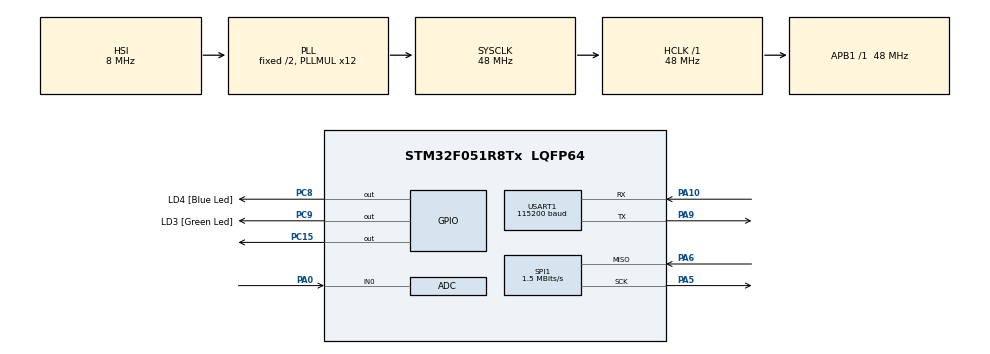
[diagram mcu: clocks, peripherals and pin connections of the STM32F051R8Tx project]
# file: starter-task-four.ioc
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Mcu.Family=STM32F0
Mcu.Name=STM32F051R8Tx
Mcu.Package=LQFP64
PA0.Mode=IN0
PA0.Signal=ADC_IN0
PA10.Mode=Asynchronous
PA10.Signal=USART1_RX
PA13.GPIO_Label=SWDIO
PA13.Mode=Serial_Wire
PA13.Signal=SYS_SWDIO
PA14.GPIO_Label=SWCLK
PA14.Mode=Serial_Wire
PA14.Signal=SYS_SWCLK
PA5.Mode=RX_Only_Simplex_Unidirect_Master
PA5.Signal=SPI1_SCK
PA6.Mode=RX_Only_Simplex_Unidirect_Master
PA6.Signal=SPI1_MISO
PA9.Mode=Asynchronous
PA9.Signal=USART1_TX
PC15-OSC32_OUT.Signal=GPIO_Output
PC8.GPIO_Label=LD4 [Blue Led]
PC8.Signal=GPIO_Output
PC9.GPIO_Label=LD3 [Green Led]
PC9.Signal=GPIO_Output
ProjectManager.HeapSize=0x200
ProjectManager.StackSize=0x400
ProjectManager.TargetToolchain=STM32CubeIDE
RCC.AHBFreq_Value=48000000
RCC.APB1Freq_Value=48000000
RCC.APB1TimFreq_Value=48000000
RCC.HCLKFreq_Value=48000000
RCC.PLLMUL=RCC_PLL_MUL12
RCC.SYSCLKFreq_VALUE=48000000
RCC.SYSCLKSource=RCC_SYSCLKSOURCE_PLLCLK
SPI1.BaudRatePrescaler=SPI_BAUDRATEPRESCALER_32
SPI1.CalculateBaudRate=1.5 MBits/s
SPI1.DataSize=SPI_DATASIZE_8BIT
SPI1.Direction=SPI_DIRECTION_2LINES_RXONLY
SPI1.Mode=SPI_MODE_MASTER
SPI1.NSSPMode=SPI_NSS_PULSE_DISABLE
SPI1.VirtualType=VM_MASTER
USART1.BaudRate=115200
USART1.VirtualMode-Asynchronous=VM_ASYNC
board=STM32F0DISCOVERY

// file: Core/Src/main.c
/* USER CODE BEGIN Header */
/**
  ******************************************************************************
  * @file           : main.c
  * @brief          : Main program body
  ******************************************************************************
  * @attention
  *
  * Copyright (c) 2024 STMicroelectronics.
  * All rights reserved.
  *
  * This software is licensed under terms that can be found in the LICENSE file
  * in the root directory of this software component.
  * If no LICENSE file comes with this software, it is provided AS-IS.
  *
  ******************************************************************************
  */
/* USER CODE END Header */
#include "main.h"

/* USER CODE BEGIN Includes */
#include <stdio.h>
#include <string.h>
#include <stdlib.h>

/* USER CODE END Includes */

ADC_HandleTypeDef hadc;

SPI_HandleTypeDef hspi1;

UART_HandleTypeDef huart1;

void SystemClock_Config(void);
static void MX_GPIO_Init(void);
static void MX_ADC_Init(void);
static void MX_USART1_UART_Init(void);
static void MX_SPI1_Init(void);

int main(void)
{

  /* USER CODE BEGIN 1 */
	char uart_buf[300];
	int uart_buf_len;
	uint8_t spi_buf[2] = {0x00, 0x01};
	unsigned int raw;
	float voltage;

  /* USER CODE END 1 */

  /* MCU Configuration--------------------------------------------------------*/

  /* Reset of all peripherals, Initializes the Flash interface and the Systick. */
  HAL_Init();

  /* Configure the system clock */
  SystemClock_Config();

  /* Initialize all configured peripherals */
  MX_GPIO_Init();
  MX_ADC_Init();
  MX_USART1_UART_Init();
  MX_SPI1_Init();
  /* USER CODE BEGIN 2 */
  HAL_GPIO_WritePin(GPIOC, GPIO_PIN_15, GPIO_PIN_SET);

  /* USER CODE END 2 */

  /* Infinite loop */
  while (1)
  {

    /* USER CODE BEGIN 3 */

	  HAL_GPIO_WritePin(GPIOC, GPIO_PIN_15, GPIO_PIN_RESET);
	  HAL_SPI_Receive(&hspi1, (uint8_t *)spi_buf, 2, 100);
	  HAL_GPIO_WritePin(GPIOC, GPIO_PIN_15, GPIO_PIN_SET);

	  raw = (spi_buf[0] << 8) | spi_buf[1];
	  voltage = ((raw + 1) * 5.0) / 65536;

	  uart_buf_len = sprintf(uart_buf, "voltage: %.2f V\r\n", voltage);
	  HAL_UART_Transmit(&huart1, (uint8_t*)uart_buf, uart_buf_len, HAL_MAX_DELAY);

	  HAL_Delay(500);
  }
  /* USER CODE END 3 */
}

void SystemClock_Config(void)
{
  RCC_OscInitTypeDef RCC_OscInitStruct = {0};
  RCC_ClkInitTypeDef RCC_ClkInitStruct = {0};
  RCC_PeriphCLKInitTypeDef PeriphClkInit = {0};

  /** Initializes the RCC Oscillators according to the specified parameters
  * in the RCC_OscInitTypeDef structure.
  */
  RCC_OscInitStruct.OscillatorType = RCC_OSCILLATORTYPE_HSI|RCC_OSCILLATORTYPE_HSI14;
  RCC_OscInitStruct.HSIState = RCC_HSI_ON;
  RCC_OscInitStruct.HSI14State = RCC_HSI14_ON;
  RCC_OscInitStruct.HSICalibrationValue = RCC_HSICALIBRATION_DEFAULT;
  RCC_OscInitStruct.HSI14CalibrationValue = 16;
  RCC_OscInitStruct.PLL.PLLState = RCC_PLL_ON;
  RCC_OscInitStruct.PLL.PLLSource = RCC_PLLSOURCE_HSI;
  RCC_OscInitStruct.PLL.PLLMUL = RCC_PLL_MUL12;
  RCC_OscInitStruct.PLL.PREDIV = RCC_PREDIV_DIV1;
  if (HAL_RCC_OscConfig(&RCC_OscInitStruct) != HAL_OK)
  {
    Error_Handler();
  }

  /** Initializes the CPU, AHB and APB buses clocks
  */
  RCC_ClkInitStruct.ClockType = RCC_CLOCKTYPE_HCLK|RCC_CLOCKTYPE_SYSCLK
                              |RCC_CLOCKTYPE_PCLK1;
  RCC_ClkInitStruct.SYSCLKSource = RCC_SYSCLKSOURCE_PLLCLK;
  RCC_ClkInitStruct.AHBCLKDivider = RCC_SYSCLK_DIV1;
  RCC_ClkInitStruct.APB1CLKDivider = RCC_HCLK_DIV1;

  if (HAL_RCC_ClockConfig(&RCC_ClkInitStruct, FLASH_LATENCY_1) != HAL_OK)
  {
    Error_Handler();
  }
  PeriphClkInit.PeriphClockSelection = RCC_PERIPHCLK_USART1;
  PeriphClkInit.Usart1ClockSelection = RCC_USART1CLKSOURCE_PCLK1;
  if (HAL_RCCEx_PeriphCLKConfig(&PeriphClkInit) != HAL_OK)
  {
    Error_Handler();
  }
}

static void MX_ADC_Init(void)
{

  ADC_ChannelConfTypeDef sConfig = {0};

  /** Configure the global features of the ADC (Clock, Resolution, Data Alignment and number of conversion)
  */
  hadc.Instance = ADC1;
  hadc.Init.ClockPrescaler = ADC_CLOCK_ASYNC_DIV1;
  hadc.Init.Resolution = ADC_RESOLUTION_12B;
  hadc.Init.DataAlign = ADC_DATAALIGN_RIGHT;
  hadc.Init.ScanConvMode = ADC_SCAN_DIRECTION_FORWARD;
  hadc.Init.EOCSelection = ADC_EOC_SINGLE_CONV;
  hadc.Init.LowPowerAutoWait = DISABLE;
  hadc.Init.LowPowerAutoPowerOff = DISABLE;
  hadc.Init.ContinuousConvMode = DISABLE;
  hadc.Init.DiscontinuousConvMode = DISABLE;
  hadc.Init.ExternalTrigConv = ADC_SOFTWARE_START;
  hadc.Init.ExternalTrigConvEdge = ADC_EXTERNALTRIGCONVEDGE_NONE;
  hadc.Init.DMAContinuousRequests = DISABLE;
  hadc.Init.Overrun = ADC_OVR_DATA_PRESERVED;
  if (HAL_ADC_Init(&hadc) != HAL_OK)
  {
    Error_Handler();
  }

  /** Configure for the selected ADC regular channel to be converted.
  */
  sConfig.Channel = ADC_CHANNEL_0;
  sConfig.Rank = ADC_RANK_CHANNEL_NUMBER;
  sConfig.SamplingTime = ADC_SAMPLETIME_1CYCLE_5;
  if (HAL_ADC_ConfigChannel(&hadc, &sConfig) != HAL_OK)
  {
    Error_Handler();
  }

}

static void MX_SPI1_Init(void)
{

  /* SPI1 parameter configuration*/
  hspi1.Instance = SPI1;
  hspi1.Init.Mode = SPI_MODE_MASTER;
  hspi1.Init.Direction = SPI_DIRECTION_2LINES_RXONLY;
  hspi1.Init.DataSize = SPI_DATASIZE_8BIT;
  hspi1.Init.CLKPolarity = SPI_POLARITY_LOW;
  hspi1.Init.CLKPhase = SPI_PHASE_1EDGE;
  hspi1.Init.NSS = SPI_NSS_SOFT;
  hspi1.Init.BaudRatePrescaler = SPI_BAUDRATEPRESCALER_32;
  hspi1.Init.FirstBit = SPI_FIRSTBIT_MSB;
  hspi1.Init.TIMode = SPI_TIMODE_DISABLE;
  hspi1.Init.CRCCalculation = SPI_CRCCALCULATION_DISABLE;
  hspi1.Init.CRCPolynomial = 7;
  hspi1.Init.CRCLength = SPI_CRC_LENGTH_DATASIZE;
  hspi1.Init.NSSPMode = SPI_NSS_PULSE_DISABLE;
  if (HAL_SPI_Init(&hspi1) != HAL_OK)
  {
    Error_Handler();
  }

}

static void MX_USART1_UART_Init(void)
{

  huart1.Instance = USART1;
  huart1.Init.BaudRate = 115200;
  huart1.Init.WordLength = UART_WORDLENGTH_8B;
  huart1.Init.StopBits = UART_STOPBITS_1;
  huart1.Init.Parity = UART_PARITY_NONE;
  huart1.Init.Mode = UART_MODE_TX_RX;
  huart1.Init.HwFlowCtl = UART_HWCONTROL_NONE;
  huart1.Init.OverSampling = UART_OVERSAMPLING_16;
  huart1.Init.OneBitSampling = UART_ONE_BIT_SAMPLE_DISABLE;
  huart1.AdvancedInit.AdvFeatureInit = UART_ADVFEATURE_NO_INIT;
  if (HAL_UART_Init(&huart1) != HAL_OK)
  {
    Error_Handler();
  }

}

static void MX_GPIO_Init(void)
{
  GPIO_InitTypeDef GPIO_InitStruct = {0};

  /* GPIO Ports Clock Enable */
  __HAL_RCC_GPIOC_CLK_ENABLE();
  __HAL_RCC_GPIOA_CLK_ENABLE();

  /*Configure GPIO pin Output Level */
  HAL_GPIO_WritePin(GPIOC, GPIO_PIN_15|LD4_Pin|LD3_Pin, GPIO_PIN_RESET);

  /*Configure GPIO pins : PC15 LD4_Pin LD3_Pin */
  GPIO_InitStruct.Pin = GPIO_PIN_15|LD4_Pin|LD3_Pin;
  GPIO_InitStruct.Mode = GPIO_MODE_OUTPUT_PP;
  GPIO_InitStruct.Pull = GPIO_NOPULL;
  GPIO_InitStruct.Speed = GPIO_SPEED_FREQ_LOW;
  HAL_GPIO_Init(GPIOC, &GPIO_InitStruct);

}

void Error_Handler(void)
{
  __disable_irq();
  while (1)
  {
  }
}
